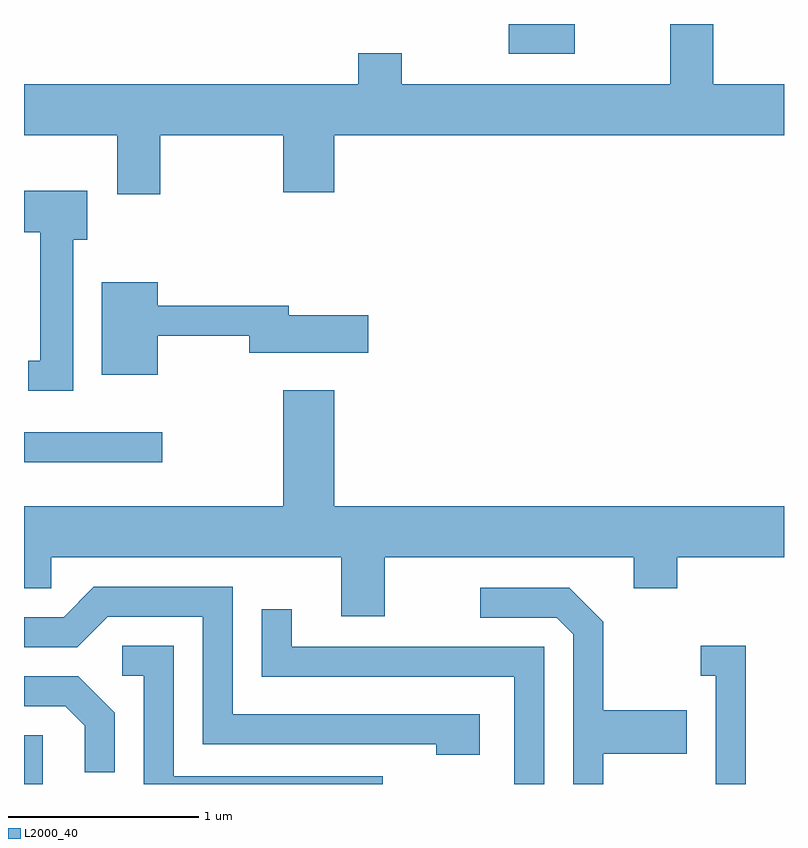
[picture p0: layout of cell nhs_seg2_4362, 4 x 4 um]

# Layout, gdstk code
import gdstk
lib = gdstk.Library(unit=1e-6, precision=1e-09)
def R(c, l, rs):  # rectangles x0, y0, x1, y1
    for r in rs: c.add(gdstk.rectangle(r[:2], r[2:], *l))
def P(c, l, *ps):  # polygons
    for p in ps: c.add(gdstk.Polygon(p, *l))
L2000_40 = (2000, 40)

nhs_seg2_4362 = lib.new_cell('nhs_seg2_4362')
R(nhs_seg2_4362, L2000_40, [(313.611,1033.802,313.709,1034.059), (313.611,1035.496,314.338,1035.654), (316.163,1037.646,316.509,1037.802)])
P(nhs_seg2_4362, L2000_40, [(314.329,1037.216),(314.976,1037.216),(314.976,1036.916),(315.244,1036.916),(315.244,1037.216),(317.611,1037.216),(317.611,1037.484),(317.239,1037.484),(317.239,1037.802),(317.011,1037.802),(317.011,1037.484),(315.599,1037.484),(315.599,1037.649),(315.371,1037.649),(315.371,1037.484),(313.611,1037.484),(313.611,1037.216),(314.101,1037.216),(314.101,1036.906),(314.329,1036.906)],
  [(313.869,1036.666),(313.944,1036.666),(313.944,1036.924),(313.611,1036.924),(313.611,1036.706),(313.696,1036.706),(313.696,1036.029),(313.633,1036.029),(313.633,1035.871),(313.869,1035.871)],
  [(314.314,1036.161),(314.796,1036.161),(314.796,1036.071),(315.424,1036.071),(315.424,1036.269),(315.004,1036.269),(315.004,1036.319),(314.314,1036.319),(314.314,1036.444),(314.021,1036.444),(314.021,1035.956),(314.314,1035.956)],
  [(315.509,1034.996),(316.821,1034.996),(316.821,1034.831),(317.049,1034.831),(317.049,1034.996),(317.611,1034.996),(317.611,1035.264),(315.244,1035.264),(315.244,1035.874),(314.976,1035.874),(314.976,1035.264),(313.611,1035.264),(313.611,1034.831),(313.754,1034.831),(313.754,1034.996),(315.281,1034.996),(315.281,1034.686),(315.509,1034.686)],
  [(316.009,1034.169),(314.709,1034.169),(314.709,1034.839),(313.979,1034.839),(313.819,1034.679),(313.611,1034.679),(313.611,1034.521),(313.892,1034.521),(314.052,1034.681),(314.551,1034.681),(314.551,1034.011),(315.781,1034.011),(315.781,1033.956),(316.009,1033.956)],
  [(316.659,1033.961),(317.099,1033.961),(317.099,1034.189),(316.659,1034.189),(316.659,1034.657),(316.482,1034.834),(316.013,1034.834),(316.013,1034.676),(316.414,1034.676),(316.501,1034.589),(316.501,1033.802),(316.659,1033.802)],
  [(316.349,1034.524),(315.019,1034.524),(315.019,1034.723),(314.861,1034.723),(314.861,1034.366),(316.191,1034.366),(316.191,1033.802),(316.349,1033.802)],
  [(315.498,1033.844),(314.399,1033.844),(314.399,1034.529),(314.128,1034.529),(314.128,1034.371),(314.241,1034.371),(314.241,1033.802),(315.498,1033.802)],
  [(317.409,1034.529),(317.173,1034.529),(317.173,1034.371),(317.251,1034.371),(317.251,1033.802),(317.409,1033.802)],
  [(314.089,1034.177),(313.897,1034.369),(313.611,1034.369),(313.611,1034.211),(313.829,1034.211),(313.931,1034.109),(313.931,1033.863),(314.089,1033.863)])

lib.write_gds('nhs_seg2_4362.gds')
